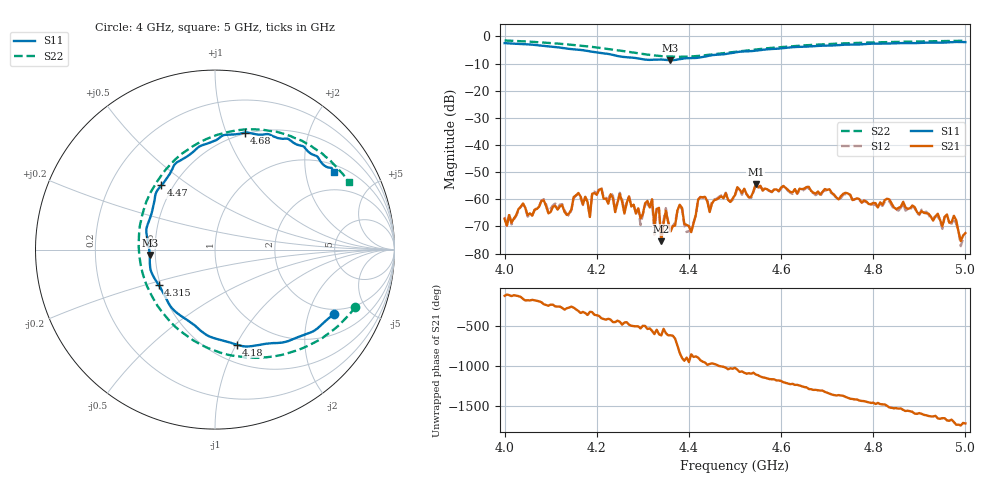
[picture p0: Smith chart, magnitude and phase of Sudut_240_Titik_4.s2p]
# Hz S RI R 50
! CMT, C1220, 16058040, 17.2.0/1
! Date: 15/08/2018 12:31:29
! Data: Format (Calibration Info)
! Freq  S11: Re/Im (F2)  S21: Re/Im (F2)  S12: Re/Im (F2)  S22: Re/Im (F2)
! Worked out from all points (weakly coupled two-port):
!   201 points, 4 GHz to 5 GHz, reference 50 ohm
!   highest |S21| = -54.37 dB at 4.545 GHz (marker M1); lowest = -75.4 dB at 4.34 GHz (marker M2)
!   lowest |S11| = -8.8 dB at 4.36 GHz (marker M3), VSWR 2.15, Z = 23.3 - j1.57 ohm
!   |S11| at or under -10 dB: nowhere
!   |S22| runs from -7.5 to -1.5 dB; largest |S21 - S12| = 0.00016
!   S11 on the Smith chart (normalised r, x): 4 GHz: 1.78, -2.96; 4.18 GHz: 0.67, -1.00; 4.315 GHz: 0.49, -0.22; 4.47 GHz: 0.43, +0.39; 4.68 GHz: 0.49, +1.16; 5 GHz: 1.25, +2.86
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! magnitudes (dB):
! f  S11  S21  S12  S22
! 4 GHz  -2.4  -67.2  -66.5  -1.5
! 4.17 GHz  -5.0  -61.9  -62.1  -3.5
! 4.18 GHz  -5.3  -61.0  -60.8  -3.6
! 4.27 GHz  -7.7  -58.9  -59.0  -5.7
! 4.295 GHz  -8.2  -67.1  -69.5  -6.3
! 4.315 GHz  -8.6  -63.0  -63.2  -6.8
! 4.32 GHz  -8.6  -60.0  -60.4  -6.9
! 4.325 GHz  -8.6  -69.8  -73.1  -7.0
! 4.335 GHz  -8.5  -63.1  -64.1  -7.1
! 4.34 GHz  -8.5  -75.4  -74.4  -7.2
! 4.35 GHz  -8.6  -64.2  -63.2  -7.3
! 4.36 GHz  -8.8  -71.9  -71.3  -7.4
! 4.38 GHz  -8.3  -62.0  -63.3  -7.5
! 4.405 GHz  -7.9  -72.1  -71.1  -7.4
! 4.42 GHz  -7.8  -60.1  -60.1  -7.1
! 4.47 GHz  -6.6  -58.9  -58.6  -6.3
! 4.5 GHz  -5.9  -58.4  -58.8  -5.6
! 4.545 GHz  -5.2  -54.4  -54.8  -4.8
! 4.67 GHz  -3.6  -57.5  -57.7  -3.1
! 4.68 GHz  -3.4  -57.1  -57.8  -3.0
! 4.835 GHz  -2.6  -60.0  -60.8  -2.0
! 5 GHz  -2.1  -72.4  -73.8  -1.6
